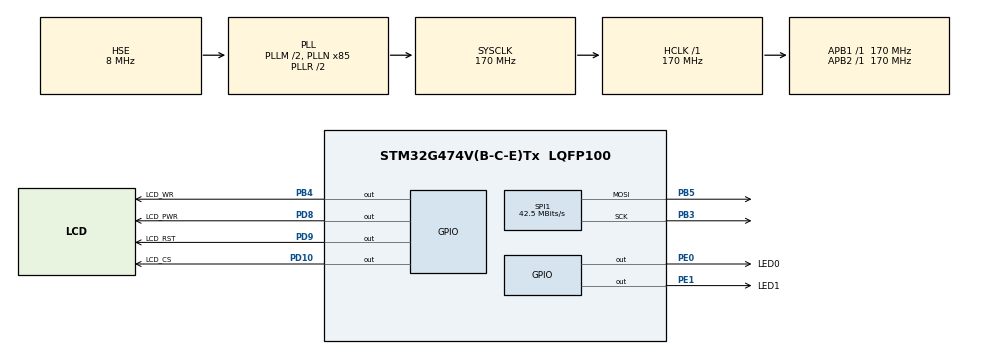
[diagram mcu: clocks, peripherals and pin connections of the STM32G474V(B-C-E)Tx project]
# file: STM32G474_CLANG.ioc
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Dma.Request0=SPI1_TX
Dma.SPI1_TX.0.Direction=DMA_MEMORY_TO_PERIPH
Dma.SPI1_TX.0.EventEnable=DISABLE
Dma.SPI1_TX.0.Instance=DMA2_Channel1
Dma.SPI1_TX.0.MemDataAlignment=DMA_MDATAALIGN_BYTE
Dma.SPI1_TX.0.MemInc=DMA_MINC_ENABLE
Dma.SPI1_TX.0.Mode=DMA_NORMAL
Dma.SPI1_TX.0.PeriphDataAlignment=DMA_PDATAALIGN_BYTE
Dma.SPI1_TX.0.PeriphInc=DMA_PINC_DISABLE
Dma.SPI1_TX.0.Polarity=HAL_DMAMUX_REQ_GEN_RISING
Dma.SPI1_TX.0.Priority=DMA_PRIORITY_LOW
Dma.SPI1_TX.0.RequestNumber=1
Dma.SPI1_TX.0.SignalID=NONE
Dma.SPI1_TX.0.SyncEnable=DISABLE
Dma.SPI1_TX.0.SyncPolarity=HAL_DMAMUX_SYNC_NO_EVENT
Dma.SPI1_TX.0.SyncRequestNumber=1
Dma.SPI1_TX.0.SyncSignalID=NONE
Mcu.Family=STM32G4
Mcu.Name=STM32G474V(B-C-E)Tx
Mcu.Package=LQFP100
NVIC.DMA2_Channel1_IRQn=true\:0\:0\:false\:false\:true\:false\:true\:true
NVIC.PriorityGroup=NVIC_PRIORITYGROUP_4
PB3.GPIO_Speed=GPIO_SPEED_FREQ_VERY_HIGH
PB3.Mode=TX_Only_Simplex_Unidirect_Master
PB3.Signal=SPI1_SCK
PB4.GPIO_Label=LCD_WR
PB4.GPIO_PuPd=GPIO_PULLUP
PB4.GPIO_Speed=GPIO_SPEED_FREQ_VERY_HIGH
PB4.Signal=GPIO_Output
PB5.GPIO_Speed=GPIO_SPEED_FREQ_VERY_HIGH
PB5.Mode=TX_Only_Simplex_Unidirect_Master
PB5.Signal=SPI1_MOSI
PD10.GPIO_Label=LCD_CS
PD10.GPIO_PuPd=GPIO_PULLUP
PD10.GPIO_Speed=GPIO_SPEED_FREQ_VERY_HIGH
PD10.Signal=GPIO_Output
PD8.GPIO_Label=LCD_PWR
PD8.GPIO_PuPd=GPIO_PULLUP
PD8.GPIO_Speed=GPIO_SPEED_FREQ_VERY_HIGH
PD8.Signal=GPIO_Output
PD9.GPIO_Label=LCD_RST
PD9.GPIO_PuPd=GPIO_PULLUP
PD9.GPIO_Speed=GPIO_SPEED_FREQ_VERY_HIGH
PD9.Signal=GPIO_Output
PE0.GPIO_Label=LED0
PE0.PinState=GPIO_PIN_SET
PE0.Signal=GPIO_Output
PE1.GPIO_Label=LED1
PE1.PinState=GPIO_PIN_SET
PE1.Signal=GPIO_Output
PF0-OSC_IN.Mode=HSE-External-Oscillator
PF0-OSC_IN.Signal=RCC_OSC_IN
PF1-OSC_OUT.Mode=HSE-External-Oscillator
PF1-OSC_OUT.Signal=RCC_OSC_OUT
ProjectManager.HeapSize=0x1000
ProjectManager.StackSize=0x2000
ProjectManager.TargetToolchain=CMake
RCC.ADC12Freq_Value=170000000
RCC.ADC345Freq_Value=170000000
RCC.AHBFreq_Value=170000000
RCC.APB1Freq_Value=170000000
RCC.APB1TimFreq_Value=170000000
RCC.APB2Freq_Value=170000000
RCC.APB2TimFreq_Value=170000000
RCC.CortexFreq_Value=170000000
RCC.EXTERNAL_CLOCK_VALUE=12288000
RCC.HCLKFreq_Value=170000000
RCC.HSE_VALUE=8000000
RCC.HSI48_VALUE=48000000
RCC.HSI_VALUE=16000000
RCC.LSE_VALUE=32768
RCC.PLLM=RCC_PLLM_DIV2
RCC.PLLN=85
RCC.PLLSourceVirtual=RCC_PLLSOURCE_HSE
RCC.SYSCLKFreq_VALUE=170000000
RCC.SYSCLKSource=RCC_SYSCLKSOURCE_PLLCLK
RCC.USBFreq_Value=170000000
RCC.VCOOutputFreq_Value=340000000
SPI1.BaudRatePrescaler=SPI_BAUDRATEPRESCALER_4
SPI1.CLKPhase=SPI_PHASE_2EDGE
SPI1.CLKPolarity=SPI_POLARITY_HIGH
SPI1.CRCCalculation=SPI_CRCCALCULATION_DISABLE
SPI1.CalculateBaudRate=42.5 MBits/s
SPI1.DataSize=SPI_DATASIZE_8BIT
SPI1.Direction=SPI_DIRECTION_2LINES
SPI1.Mode=SPI_MODE_MASTER
SPI1.VirtualType=VM_MASTER
STMicroelectronics.X-CUBE-ALGOBUILD.1.4.0.LibraryCcDSPOoLibraryJjDSPOoLibrary=true
VP_STMicroelectronics.X-CUBE-ALGOBUILD_VS_DSPOoLibraryJjLibrary_1.4.0_1.4.0.Mode=DSPOoLibraryJjLibrary
VP_SYS_VS_DBSignals.Mode=DisableDeadBatterySignals
board=custom

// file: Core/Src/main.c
/* USER CODE BEGIN Header */
/**
  ******************************************************************************
  * @file           : main.c
  * @brief          : Main program body
  ******************************************************************************
  * @attention
  *
  * Copyright (c) 2025 STMicroelectronics.
  * All rights reserved.
  *
  * This software is licensed under terms that can be found in the LICENSE file
  * in the root directory of this software component.
  * If no LICENSE file comes with this software, it is provided AS-IS.
  *
  ******************************************************************************
  */
/* USER CODE END Header */
#include "main.h"
#include "dma.h"
#include "spi.h"
#include "gpio.h"

/* USER CODE BEGIN Includes */
// #include "lcd.h"
#include "LCD_1in3.h"
#include <stdbool.h>
#include <stdint.h>
#include "arm_2d.h"
#include "system_stm32g4xx.h"

/* ARM 2D */
#include "perf_counter.h"

#include "arm_2d_helper.h"
#include "arm_2d_disp_adapters.h"
#include "arm_2d_example_controls.h"
// #include "arm_2d_scenes.h"

/* USER CODE END Includes */

void SystemClock_Config(void);

/* USER CODE BEGIN 0 */
bool check_dwt_enabled(void)
{
    // 检查 Debug Exception and Monitor Control Register
    uint32_t demcr = CoreDebug->DEMCR;
    bool debug_enabled = (demcr & CoreDebug_DEMCR_TRCENA_Msk) != 0;

    // 检查 DWT Control Register
    uint32_t dwt_ctrl = DWT->CTRL;
    bool dwt_enabled = (dwt_ctrl & DWT_CTRL_CYCCNTENA_Msk) != 0;

    // printf("DEMCR: 0x%08lX (TRCENA=%s)\r\n",
    //        demcr, debug_enabled ? "ON" : "OFF");
    // printf("DWT_CTRL: 0x%08lX (CYCCNTENA=%s)\r\n",
    //        dwt_ctrl, dwt_enabled ? "ON" : "OFF");

    return debug_enabled && dwt_enabled;
}

void enable_dwt(void)
{
    // 启用 Debug Exception and Monitor Control Register
    CoreDebug->DEMCR |= CoreDebug_DEMCR_TRCENA_Msk;

    // 启用 DWT cycle counter
    DWT->CTRL |= DWT_CTRL_CYCCNTENA_Msk;

    // 重置计数器
    DWT->CYCCNT = 0;

    // printf("DWT enabled\r\n");
}

/* USER CODE END 0 */

int main(void)
{

  /* USER CODE BEGIN 1 */
  volatile uint32_t start_tick = 0;
  arm_fsm_rt_t tResult;
  (void)tResult;
  /* USER CODE END 1 */

  /* MCU Configuration--------------------------------------------------------*/

  /* Reset of all peripherals, Initializes the Flash interface and the Systick. */
  HAL_Init();

  /* USER CODE BEGIN Init */
  // ST-CLANG both define __GNUC__ and __clang__

  /* USER CODE END Init */

  /* Configure the system clock */
  SystemClock_Config();

  /* Initialize all configured peripherals */
  MX_GPIO_Init();
  MX_DMA_Init();
  MX_SPI1_Init();
  /* USER CODE BEGIN 2 */

  if(check_dwt_enabled() ==  false)
  {
    enable_dwt();
  }

  perfc_init(true);
  LCD_1IN3_Init(VERTICAL);
  LCD_1IN3_Clear(0xFFFF);
  adapter0_async_flushing_data.async_flushing_step = 0;
  /* USER CODE END 2 */

  /* Infinite loop */
  /* USER CODE BEGIN WHILE */
  /*! \note if you do want to use SysTick in your application, please use
     *!       init_cycle_counter(true);
     *!       instead of
     *!       init_cycle_counter(false);
     */

  arm_irq_safe
  {
    arm_2d_init();
  }
  /* initialize the display adapter 0 service */
  disp_adapter0_init();

  start_tick = HAL_GetTick();

  while (1)
  {
    /* USER CODE END WHILE */

    /* USER CODE BEGIN 3 */
#if DMA_ASYNC_FLUSHING
    if(adapter0_async_flushing_data.async_flushing_step == 0) //  || adapter0_async_flushing_data.async_flushing_step == 6)
    {
      tResult = disp_adapter0_task();
    }
    else
    {
      arm2d_async_flushing_loop(&adapter0_async_flushing_data);
    }
#else
    tResult = disp_adapter0_task();
#endif
    if(HAL_GetTick() - start_tick >= 500)
    {
      start_tick = HAL_GetTick();
      HAL_GPIO_TogglePin(LED0_GPIO_Port, LED0_Pin);
    }
    // perfc_delay_ms(500);
    // HAL_GPIO_TogglePin(LED0_GPIO_Port, LED0_Pin);
  }
  /* USER CODE END 3 */
}

void SystemClock_Config(void)
{
  RCC_OscInitTypeDef RCC_OscInitStruct = {0};
  RCC_ClkInitTypeDef RCC_ClkInitStruct = {0};

  /** Configure the main internal regulator output voltage
  */
  HAL_PWREx_ControlVoltageScaling(PWR_REGULATOR_VOLTAGE_SCALE1_BOOST);

  /** Initializes the RCC Oscillators according to the specified parameters
  * in the RCC_OscInitTypeDef structure.
  */
  RCC_OscInitStruct.OscillatorType = RCC_OSCILLATORTYPE_HSE;
  RCC_OscInitStruct.HSEState = RCC_HSE_ON;
  RCC_OscInitStruct.PLL.PLLState = RCC_PLL_ON;
  RCC_OscInitStruct.PLL.PLLSource = RCC_PLLSOURCE_HSE;
  RCC_OscInitStruct.PLL.PLLM = RCC_PLLM_DIV2;
  RCC_OscInitStruct.PLL.PLLN = 85;
  RCC_OscInitStruct.PLL.PLLP = RCC_PLLP_DIV2;
  RCC_OscInitStruct.PLL.PLLQ = RCC_PLLQ_DIV2;
  RCC_OscInitStruct.PLL.PLLR = RCC_PLLR_DIV2;
  if (HAL_RCC_OscConfig(&RCC_OscInitStruct) != HAL_OK)
  {
    Error_Handler();
  }

  /** Initializes the CPU, AHB and APB buses clocks
  */
  RCC_ClkInitStruct.ClockType = RCC_CLOCKTYPE_HCLK|RCC_CLOCKTYPE_SYSCLK
                              |RCC_CLOCKTYPE_PCLK1|RCC_CLOCKTYPE_PCLK2;
  RCC_ClkInitStruct.SYSCLKSource = RCC_SYSCLKSOURCE_PLLCLK;
  RCC_ClkInitStruct.AHBCLKDivider = RCC_SYSCLK_DIV1;
  RCC_ClkInitStruct.APB1CLKDivider = RCC_HCLK_DIV1;
  RCC_ClkInitStruct.APB2CLKDivider = RCC_HCLK_DIV1;

  if (HAL_RCC_ClockConfig(&RCC_ClkInitStruct, FLASH_LATENCY_4) != HAL_OK)
  {
    Error_Handler();
  }
}

void Error_Handler(void)
{
  __disable_irq();
  while (1)
  {
  }
}
